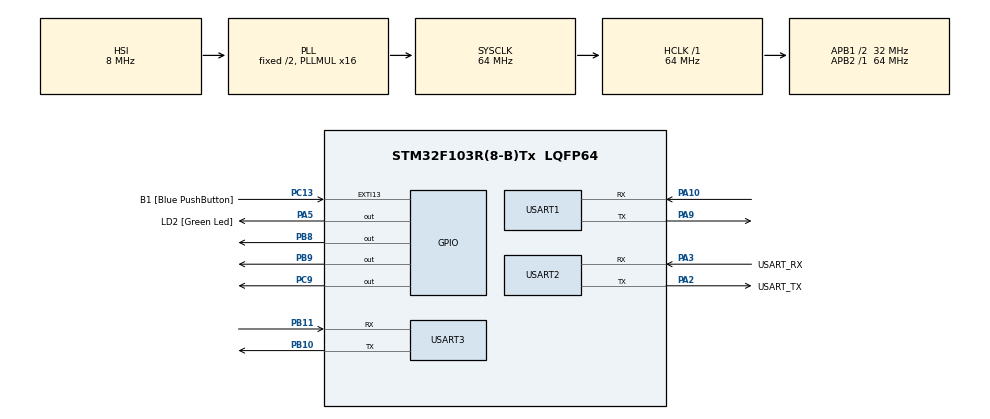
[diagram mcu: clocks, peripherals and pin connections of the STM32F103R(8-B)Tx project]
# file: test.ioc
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Mcu.Family=STM32F1
Mcu.Name=STM32F103R(8-B)Tx
Mcu.Package=LQFP64
NVIC.EXTI15_10_IRQn=true\:0\:0\:false\:false\:true\:true\:true\:true
NVIC.PriorityGroup=NVIC_PRIORITYGROUP_4
PA10.Mode=Asynchronous
PA10.Signal=USART1_RX
PA13.GPIO_Label=TMS
PA13.Mode=Serial_Wire
PA13.Signal=SYS_JTMS-SWDIO
PA14.GPIO_Label=TCK
PA14.Mode=Serial_Wire
PA14.Signal=SYS_JTCK-SWCLK
PA2.GPIO_Label=USART_TX
PA2.GPIO_Mode=GPIO_MODE_AF_PP
PA2.GPIO_PuPd=GPIO_NOPULL
PA2.GPIO_Speed=GPIO_SPEED_FREQ_LOW
PA2.Mode=Asynchronous
PA2.Signal=USART2_TX
PA3.GPIO_Label=USART_RX
PA3.GPIO_Mode=GPIO_MODE_AF_PP
PA3.GPIO_PuPd=GPIO_NOPULL
PA3.GPIO_Speed=GPIO_SPEED_FREQ_LOW
PA3.Mode=Asynchronous
PA3.Signal=USART2_RX
PA5.GPIO_Label=LD2 [Green Led]
PA5.GPIO_ModeDefaultOutputPP=GPIO_MODE_OUTPUT_PP
PA5.GPIO_PuPd=GPIO_NOPULL
PA5.GPIO_Speed=GPIO_SPEED_FREQ_LOW
PA5.Signal=GPIO_Output
PA9.Mode=Asynchronous
PA9.Signal=USART1_TX
PB10.Mode=Asynchronous
PB10.Signal=USART3_TX
PB11.Mode=Asynchronous
PB11.Signal=USART3_RX
PB3.GPIO_Label=SWO
PB3.Signal=SYS_JTDO-TRACESWO
PB8.Signal=GPIO_Output
PB9.Signal=GPIO_Output
PC13-TAMPER-RTC.GPIO_Label=B1 [Blue PushButton]
PC13-TAMPER-RTC.GPIO_PuPd=GPIO_NOPULL
PC13-TAMPER-RTC.Signal=GPXTI13
PC14-OSC32_IN.Mode=LSE-External-Oscillator
PC14-OSC32_IN.Signal=RCC_OSC32_IN
PC15-OSC32_OUT.Mode=LSE-External-Oscillator
PC15-OSC32_OUT.Signal=RCC_OSC32_OUT
PC9.Signal=GPIO_Output
PD0-OSC_IN.Mode=HSE-External-Oscillator
PD0-OSC_IN.Signal=RCC_OSC_IN
PD1-OSC_OUT.Mode=HSE-External-Oscillator
PD1-OSC_OUT.Signal=RCC_OSC_OUT
ProjectManager.HeapSize=0x200
ProjectManager.StackSize=0x400
ProjectManager.TargetToolchain=STM32CubeIDE
RCC.AHBFreq_Value=64000000
RCC.APB1CLKDivider=RCC_HCLK_DIV2
RCC.APB1Freq_Value=32000000
RCC.APB1TimFreq_Value=64000000
RCC.APB2Freq_Value=64000000
RCC.APB2TimFreq_Value=64000000
RCC.HCLKFreq_Value=64000000
RCC.PLLMUL=RCC_PLL_MUL16
RCC.RTCClockSelection=RCC_RTCCLKSOURCE_LSE
RCC.SYSCLKFreq_VALUE=64000000
RCC.SYSCLKSource=RCC_SYSCLKSOURCE_PLLCLK
RCC.USBFreq_Value=64000000
USART1.VirtualMode=VM_ASYNC
USART2.VirtualMode=VM_ASYNC
USART3.VirtualMode=VM_ASYNC
board=NUCLEO-F103RB

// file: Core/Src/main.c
/* USER CODE BEGIN Header */
/**
  ******************************************************************************
  * @file           : main.c
  * @brief          : Main program body
  ******************************************************************************
  * @attention
  *
  * Copyright (c) 2023 STMicroelectronics.
  * All rights reserved.
  *
  * This software is licensed under terms that can be found in the LICENSE file
  * in the root directory of this software component.
  * If no LICENSE file comes with this software, it is provided AS-IS.
  *
  ******************************************************************************
  */
/* USER CODE END Header */
#include "main.h"
#include <stdio.h>
#include <string.h>

/* USER CODE BEGIN PD */
#define send 0xc1ae
/* USER CODE END PD */

UART_HandleTypeDef huart1;
UART_HandleTypeDef huart2;
UART_HandleTypeDef huart3;

/* USER CODE BEGIN PV */
uint8_t version_receive[26];
uint8_t version_send[4] = {0xAE, 0xC1, 0x0e, 0x00},			resolution_send[] = {0xAE, 0xC1, 0x0C, 0x01, 0x00},
		resolution_receive[10],
		brightness_send[] = {0xAE, 0xC1, 0x10, 0x01, 0x00},
		brightness_receive[10],
		blocks_send[] = {0xAE, 0xC1, 0x20, 0x02, 0x03, 0xFF},
		blocks_receive[40];
/* USER CODE END PV */

void SystemClock_Config(void);
static void MX_GPIO_Init(void);
static void MX_USART2_UART_Init(void);
static void MX_USART1_UART_Init(void);
static void MX_USART3_UART_Init(void);

void getVersion();
void getResolution();
void setCameraBrightness(uint8_t brightness);
void getBlocks(uint8_t sigmap,uint8_t maxBlocks);
uint8_t stop[4] = {0x7A, 0x0A, 50, 0x00}, //array with data for stop
      forward[4] = {0x7A, 0x01, 50, 0x00}, //array with data for forward
      reverse[4] = {0x7A, 0x02, 50, 0x00}, //array with data for reverse
      turn_left[4] = {0x7A, 0x04, 50, 0x00}, //array with data for turn left
      turn_right[4] = {0x7A, 0x03, 50, 0x00}, //array with data for turn right
      top_left[4] = {0x7A, 0x07, 50, 0x00}, //array with data for top left
      top_right[4] = {0x7A, 0x06, 50, 0x00}, //array with data for top right
      bot_left[4] = {0x7A, 0x08, 50, 0x00}, //array with data for bottom left
      bot_right[4] = {0x7A, 0x09, 50, 0x00}, //array with data for bottom right
      clockwise[4] = {0x7A, 0x10, 50, 0x00}, //array with data for clockwise
      count_clockwise[4] = {0x7A, 0x11, 50, 0x00}, //array with data for counter clockwise
      side_left[4] = {0x7A, 0x13, 50, 0x00}, //array with data for side left
      side_right[4] = {0x7A, 0x12, 50, 0x00}; //array with data for side right

uint16_t object_present, x_combined, y_combined, width_combined, height_combined, signature;

int count = 1;
int countb = 1;

int state = 0;
int state2 = 1;

int changespeed = 0;
int changespeed2 = 1;

void stopp(){

}

uint8_t calculate_xor_checksum(uint8_t *data, uint32_t length) //checksum algorithm function using XOR. Takes in the pointer to the first element of the array and size of the array
{
    uint8_t checksum = 0; //initialise the checksum to be zero

    for (uint32_t i = 0; i < length; i++)
    {
        checksum ^= data[i]; //runs through each element and does the XOR operation. Updates the value of checksum accordingly.
    }

    return checksum; //returns the value of the checksum
}
void move(uint8_t* movement, int count) //function that will coordinate the movement. Takes in the specific direction array and the unit counts for the movement.
{

	  movement[3] = calculate_xor_checksum(movement, sizeof(*movement)* 4); //updates the value of the 4th element with the checksum value by calling the checksum function.

  uint8_t flag = 0x00; //declare an uint8_t type variable flag and initialise it to 0x00

  uint8_t ok = 0x01; //declare an uint8_t type variable ok and initialise it to 0x01

  for (int k = 0; k < count;) //loops through till it reaches count as desired by the function call parameter
  {
    HAL_UART_Receive(&huart1,&flag,sizeof(flag),10); //checks the state of the flag

    if(flag == ok) //if flag is equals to ok, signifies that there is no blockage
    {
      for (int i = 0; i <= 3; i++)
      {
        HAL_UART_Transmit(&huart1, &movement[i], 1, HAL_MAX_DELAY); //transmits the movement data one element at a time
      }

      k++; //increase the value of k
      HAL_Delay(10);
    }

    else ////if flag is not equals to ok, signifies that there is a blockage
    {
      for (int i = 0; i <= 3; i++)
      {
        HAL_UART_Transmit(&huart1, &stop[i], 1, HAL_MAX_DELAY); //transmits the stop movement
       // HAL_Delay(10);
      }
    }
  }
}

void getVersion()
{
	  HAL_UART_Transmit(&huart3, version_send, sizeof(version_send), 10);
	  HAL_UART_Receive(&huart3, version_receive, sizeof(version_receive), 10);
}

void getResolution()
{
    for (int i = 0; i < sizeof(resolution_send); i++)
    {
        if (HAL_UART_Transmit(&huart3, &(resolution_send[i]), 1, HAL_MAX_DELAY) != HAL_OK)
        {
            char error_msg[50];
            sprintf(error_msg, "Error transmitting byte %d in getResolution()\n", i);
            HAL_UART_Transmit(&huart2, (uint8_t*)error_msg, strlen(error_msg), HAL_MAX_DELAY);
            return;
        }
        HAL_Delay(10);
    }
    for (int k = 0; k < sizeof(resolution_receive); k++)
    {
        if (HAL_UART_Receive(&huart3, &(resolution_receive[k]), 1, 10) != HAL_OK)
        {
            char error_msg[50];
            sprintf(error_msg, "Error receiving byte %d in getResolution()\n", k);
            HAL_UART_Transmit(&huart2, (uint8_t*)error_msg, strlen(error_msg), HAL_MAX_DELAY);
            return;
        }
    }
}

void setCameraBrightness(uint8_t brightness)
{
	  if (brightness <= 255 && brightness >= 0)
	  {
		  brightness_send[4] = brightness;
	  }

	  else
	  {
        char error_msg[50];
        sprintf(error_msg, "Brightness value is out of range 0-255 %d in setCameraBrightness()\n", brightness);
        HAL_UART_Transmit(&huart2, (uint8_t*)error_msg, strlen(error_msg), HAL_MAX_DELAY);
        return;
	  }

    for (int i = 0; i < sizeof(brightness_send); i++)
    {
        if (HAL_UART_Transmit(&huart3, &(brightness_send[i]), 1, HAL_MAX_DELAY) != HAL_OK)
        {
            char error_msg[50];
            sprintf(error_msg, "Error transmitting byte %d in setCameraBrightness()\n", i);
            HAL_UART_Transmit(&huart2, (uint8_t*)error_msg, strlen(error_msg), HAL_MAX_DELAY);
            return;
        }
        HAL_Delay(10);
    }

    char success_msg[50];
    sprintf(success_msg, "Camera brightness set to %d\n", brightness);
    HAL_UART_Transmit(&huart2, (uint8_t*)success_msg, strlen(success_msg), HAL_MAX_DELAY);

    for (int k = 0; k < sizeof(brightness_receive); k++)
    {
        if (HAL_UART_Receive(&huart3, &(brightness_receive[k]), 1, 10) != HAL_OK)
        {
            char error_msg[50];
            sprintf(error_msg, "Error receiving byte %d in setCameraBrightness()\n", k);
            HAL_UART_Transmit(&huart2, (uint8_t*)error_msg, strlen(error_msg), HAL_MAX_DELAY);
            return;
        }

    }
}

void getBlocks(uint8_t sigmap,uint8_t maxBlocks)
  {
		HAL_UART_Transmit(&huart3, blocks_send, sizeof(blocks_send), 50);
	    HAL_UART_Receive(&huart3, blocks_receive, sizeof(blocks_receive), 50);

	    object_present = blocks_receive[3];
	    signature = ((uint16_t)blocks_receive[7] << 8) | blocks_receive[6];
		x_combined = ((uint16_t)blocks_receive[9] << 8) | blocks_receive[8];
		y_combined = ((uint16_t)blocks_receive[11] << 8) | blocks_receive[10];
		width_combined = ((uint16_t)blocks_receive[13] << 8) | blocks_receive[12];
		height_combined = ((uint16_t)blocks_receive[15] << 8) | blocks_receive[14];

  }

int main(void)
{

  /* MCU Configuration--------------------------------------------------------*/

  /* Reset of all peripherals, Initializes the Flash interface and the Systick. */
  HAL_Init();

  /* Configure the system clock */
  SystemClock_Config();

  /* Initialize all configured peripherals */
  MX_GPIO_Init();
  MX_USART2_UART_Init();
  MX_USART1_UART_Init();
  MX_USART3_UART_Init();

  /* Infinite loop */
  /* USER CODE BEGIN WHILE */
  while (1)
  {

	  //    move(forward, 50); //calls for move forward
	  //    move(top_right, 50); //calls for move top right
	  //    move(side_right, 50); //calls for move side right
	  //    move(bot_left, 50); //calls for bottom left
	  //  move(reverse, 50); //calls for move reverse
	  //    move(bot_left, 50); //calls for move bottom left
	  //    move(side_left, 50); //calls for move side left
	  //    move(top_left, 50); //calls for move top left
	  //    move(stop, 100); //calls for stop

	  //	  getBlocks(1, 1);
	  //
	  //      char blocks_msg[50];
	  //      sprintf(blocks_msg, "Forward");
	  //      HAL_UART_Transmit(&huart2, (uint8_t*)blocks_msg, strlen(blocks_msg), HAL_MAX_DELAY);

	  	 getBlocks(1, 1);

		 if (object_present == 0) //no object
		 {
			 while (object_present == 0)
			 {
			      HAL_GPIO_WritePin(GPIOC, GPIO_PIN_9, GPIO_PIN_RESET);
			      HAL_GPIO_WritePin(GPIOB, GPIO_PIN_8, GPIO_PIN_RESET);
			      HAL_GPIO_WritePin(GPIOB, GPIO_PIN_9, GPIO_PIN_RESET);
//			      HAL_Delay(50);
			      getBlocks(1, 1);

			      move(stop, count);
			 }

		 }

	  	 switch (signature)
	  	 {
	  		 case 1:

	  			    // if the LED is on, turn it off

	  			      HAL_GPIO_WritePin(GPIOC, GPIO_PIN_9, GPIO_PIN_RESET);
	  			      HAL_GPIO_WritePin(GPIOB, GPIO_PIN_8, GPIO_PIN_RESET);
	  			      HAL_GPIO_WritePin(GPIOB, GPIO_PIN_9, GPIO_PIN_RESET);
	  			      HAL_Delay(50);

	  			 if (object_present == 0) //no object
	  			 {
	  				 move(stop, count);

	  			      char blocks_msg[50];
	  			      sprintf(blocks_msg, " Stop ");
	  			      HAL_UART_Transmit(&huart2, (uint8_t*)blocks_msg, strlen(blocks_msg), 10);

	  			      //getBlocks(1, 1);
	  			 }

	  			 else //there is an object
	  			 {

	  				 //if (width_combined > 120 && width_combined < 70) //out of range
	  				 //{
	  					 if (width_combined > 120) //if the object is too near, move reverse
	  					 {
	  						 if (x_combined < 100) //if the object is center but to the left, slide left
	  						 {
	  							 if (state == 1)
	  							 {
	  								 move(stop, count);
	  								 state = 0;
	  							 }
	  							 if (state2 == 0)
	  							 {
	  								 move(stop, count);
	  								 state2 = 1;
	  							 }

	  							move(bot_left,countb);

	  						      char blocks_msg[50];
	  						      sprintf(blocks_msg, " Bot-Left ");
	  						      HAL_UART_Transmit(&huart2, (uint8_t*)blocks_msg, strlen(blocks_msg), 10);

	  						      //getBlocks(1, 1);
	  						 }

	  						 else if (x_combined > 200) //if the object is center but to the right, slide right
	  						 {
	  							 if (state == 1)
	  							 {
	  								 state2 = 1;
	  								 move(stop, count);
	  								 state = 0;
	  							 }
	  							 if (state2 == 0)
	  							 {
	  								 move(stop, count);
	  								 state2 = 1;
	  							 }

	  							 move(bot_right, countb);

	  						      char blocks_msg[50];
	  						      sprintf(blocks_msg, " Bot-Right ");
	  						      HAL_UART_Transmit(&huart2, (uint8_t*)blocks_msg, strlen(blocks_msg), 10);

	  						      //getBlocks(1, 1);
	  						 }

	  						 else if (x_combined > 100 && x_combined < 200)
	  						 {

	  							 state = 1;
	  							 state2 = 0;

	  							 if (width_combined < 140)
	  							 {
	  								 reverse[2] = 40;
	  								 move(reverse, count);
	  							 }
	  							 else if (width_combined >= 140 )
	  							 {
	  								 reverse[2] = 80;
	  								 move(reverse, count);
	  							 }

	  							  char blocks_msg[50];
	  							  sprintf(blocks_msg, " Reverse ");
	  							  HAL_UART_Transmit(&huart2, (uint8_t*)blocks_msg, strlen(blocks_msg), 10);

	  							  //getBlocks(1, 1);
	  						 }

	  					 } // end of if for too near

	  					 else if (width_combined < 70) //if the object is too far, move forward
	  					 {

	  						 if (x_combined < 80) //if the object is center but to the left, slide left
	  						 {
	  							 if (state == 1)
	  							 {
	  								 move(stop, count);
	  								 state = 0;
	  							 }
	  							 if (state2 == 0)
	  							 {
	  								 move(stop, count);
	  								 state2 = 1;
	  							 }

	  							 move(top_left,countb);

	  						      char blocks_msg[50];
	  						      sprintf(blocks_msg, " Top-Left ");
	  						      HAL_UART_Transmit(&huart2, (uint8_t*)blocks_msg, strlen(blocks_msg), 10);

	  						      //getBlocks(1, 1);
	  						 }

	  						 else if (x_combined > 220) //if the object is center but to the right, slide right
	  						 {
	  							 if (state == 1)
	  							 {
	  								 move(stop, count);
	  								 state = 0;
	  							 }
	  							 if (state2 == 0)
	  							 {
	  								 move(stop, count);
	  								 state2 = 1;
	  							 }

	  							 move(top_right, countb);

	  						      char blocks_msg[50];
	  						      sprintf(blocks_msg, " Top-Right ");
	  						      HAL_UART_Transmit(&huart2, (uint8_t*)blocks_msg, strlen(blocks_msg), 10);

	  						      //getBlocks(1, 1);
	  						 }

	  						 else
	  						 {
	  							 state = 1;
	  							 state2 = 0;

	  							 if (width_combined > 50)
	  							 {
	  								 forward[2] = 40;
	  								 move(forward, count);
	  							 }
	  							 else if (width_combined <= 50 )
	  							 {
	  								 forward[2] = 80;
	  								 move(forward, count);
	  							 }

	  						      char blocks_msg[50];
	  						      sprintf(blocks_msg, " Forward ");
	  						      HAL_UART_Transmit(&huart2, (uint8_t*)blocks_msg, strlen(blocks_msg), 10);

	  						      //getBlocks(1, 1);
	  						 }
	  					 } //end of if for too far

	  				 //} //end of if for out of range

	  				 else if (width_combined <= 120 && width_combined >= 70) //within desired range
	  				 {

	  					 if (x_combined >=80 && x_combined <= 220) //if the object is in the center, stop
	  					 {
	  						 move(stop,count);

	  					      char blocks_msg[50];
	  					      sprintf(blocks_msg, " Stop ");
	  					      HAL_UART_Transmit(&huart2, (uint8_t*)blocks_msg, strlen(blocks_msg), 10);

	  					      //getBlocks(1, 1);
	  					 }

	  					 else if (x_combined < 80) //if the object is center but to the left, slide left
	  					 {
	  						state = 1;

	  						 if (x_combined > 70)
	  						 {
	  							 side_left[2] = 40;
	  							 move(side_left, count);
	  						 }
	  						 else if (x_combined <= 70 )
	  						 {
	  							 side_left[2] = 80;
	  							 move(side_left, count);
	  						 }

	  					      char blocks_msg[50];
	  					      sprintf(blocks_msg, " Slide-Left ");
	  					      HAL_UART_Transmit(&huart2, (uint8_t*)blocks_msg, strlen(blocks_msg), 10);

	  					      //getBlocks(1, 1);
	  					 }

	  					 else if (x_combined > 220) //if the object is center but to the right, slide right
	  					 {
	  						 state = 1;

	  						 if (x_combined < 240)
	  						 {
	  							 side_right[2] = 40;
	  							 move(side_right, count);
	  						 }
	  						 else if (x_combined >= 240 )
	  						 {
	  							 side_right[2] = 80;
	  							 move(side_right, count);
	  						 }

	  					      char blocks_msg[50];
	  					      sprintf(blocks_msg, " Slide-Right ");
	  					      HAL_UART_Transmit(&huart2, (uint8_t*)blocks_msg, strlen(blocks_msg), 10);

	  					      //getBlocks(1, 1);
	  					 }
	  				 } //end of if for desired range

	  			 }

	  			 break;

	  		 case 2:
	  			 //HAL_GPIO_TogglePin(GPIOC, GPIO_PIN_9);
	  			     //HAL_Delay(1000);
	  			HAL_GPIO_WritePin(GPIOC, GPIO_PIN_9, GPIO_PIN_SET);
	  			HAL_GPIO_WritePin(GPIOB, GPIO_PIN_8, GPIO_PIN_SET);
	  			HAL_GPIO_WritePin(GPIOB, GPIO_PIN_9, GPIO_PIN_SET);
	  			HAL_Delay(50);

	  			move(stop, count);

	  		break;

	  	 }

    /* USER CODE END WHILE */

  }
}

void SystemClock_Config(void)
{
  RCC_OscInitTypeDef RCC_OscInitStruct = {0};
  RCC_ClkInitTypeDef RCC_ClkInitStruct = {0};

  /** Initializes the RCC Oscillators according to the specified parameters
  * in the RCC_OscInitTypeDef structure.
  */
  RCC_OscInitStruct.OscillatorType = RCC_OSCILLATORTYPE_HSI;
  RCC_OscInitStruct.HSIState = RCC_HSI_ON;
  RCC_OscInitStruct.HSICalibrationValue = RCC_HSICALIBRATION_DEFAULT;
  RCC_OscInitStruct.PLL.PLLState = RCC_PLL_ON;
  RCC_OscInitStruct.PLL.PLLSource = RCC_PLLSOURCE_HSI_DIV2;
  RCC_OscInitStruct.PLL.PLLMUL = RCC_PLL_MUL16;
  if (HAL_RCC_OscConfig(&RCC_OscInitStruct) != HAL_OK)
  {
    Error_Handler();
  }

  /** Initializes the CPU, AHB and APB buses clocks
  */
  RCC_ClkInitStruct.ClockType = RCC_CLOCKTYPE_HCLK|RCC_CLOCKTYPE_SYSCLK
                              |RCC_CLOCKTYPE_PCLK1|RCC_CLOCKTYPE_PCLK2;
  RCC_ClkInitStruct.SYSCLKSource = RCC_SYSCLKSOURCE_PLLCLK;
  RCC_ClkInitStruct.AHBCLKDivider = RCC_SYSCLK_DIV1;
  RCC_ClkInitStruct.APB1CLKDivider = RCC_HCLK_DIV2;
  RCC_ClkInitStruct.APB2CLKDivider = RCC_HCLK_DIV1;

  if (HAL_RCC_ClockConfig(&RCC_ClkInitStruct, FLASH_LATENCY_2) != HAL_OK)
  {
    Error_Handler();
  }
}

static void MX_USART1_UART_Init(void)
{

  huart1.Instance = USART1;
  huart1.Init.BaudRate = 115200;
  huart1.Init.WordLength = UART_WORDLENGTH_8B;
  huart1.Init.StopBits = UART_STOPBITS_1;
  huart1.Init.Parity = UART_PARITY_NONE;
  huart1.Init.Mode = UART_MODE_TX_RX;
  huart1.Init.HwFlowCtl = UART_HWCONTROL_NONE;
  huart1.Init.OverSampling = UART_OVERSAMPLING_16;
  if (HAL_UART_Init(&huart1) != HAL_OK)
  {
    Error_Handler();
  }

}

static void MX_USART2_UART_Init(void)
{

  huart2.Instance = USART2;
  huart2.Init.BaudRate = 115200;
  huart2.Init.WordLength = UART_WORDLENGTH_8B;
  huart2.Init.StopBits = UART_STOPBITS_1;
  huart2.Init.Parity = UART_PARITY_NONE;
  huart2.Init.Mode = UART_MODE_TX_RX;
  huart2.Init.HwFlowCtl = UART_HWCONTROL_NONE;
  huart2.Init.OverSampling = UART_OVERSAMPLING_16;
  if (HAL_UART_Init(&huart2) != HAL_OK)
  {
    Error_Handler();
  }

}

static void MX_USART3_UART_Init(void)
{

  huart3.Instance = USART3;
  huart3.Init.BaudRate = 115200;
  huart3.Init.WordLength = UART_WORDLENGTH_8B;
  huart3.Init.StopBits = UART_STOPBITS_1;
  huart3.Init.Parity = UART_PARITY_NONE;
  huart3.Init.Mode = UART_MODE_TX_RX;
  huart3.Init.HwFlowCtl = UART_HWCONTROL_NONE;
  huart3.Init.OverSampling = UART_OVERSAMPLING_16;
  if (HAL_UART_Init(&huart3) != HAL_OK)
  {
    Error_Handler();
  }

}

static void MX_GPIO_Init(void)
{
  GPIO_InitTypeDef GPIO_InitStruct = {0};

  /* GPIO Ports Clock Enable */
  __HAL_RCC_GPIOC_CLK_ENABLE();
  __HAL_RCC_GPIOD_CLK_ENABLE();
  __HAL_RCC_GPIOA_CLK_ENABLE();
  __HAL_RCC_GPIOB_CLK_ENABLE();

  /*Configure GPIO pin Output Level */
  HAL_GPIO_WritePin(LD2_GPIO_Port, LD2_Pin, GPIO_PIN_RESET);

  /*Configure GPIO pin Output Level */
  HAL_GPIO_WritePin(GPIOC, GPIO_PIN_9, GPIO_PIN_RESET);

  /*Configure GPIO pin : B1_Pin */
  GPIO_InitStruct.Pin = B1_Pin;
  GPIO_InitStruct.Mode = GPIO_MODE_IT_RISING;
  GPIO_InitStruct.Pull = GPIO_NOPULL;
  HAL_GPIO_Init(B1_GPIO_Port, &GPIO_InitStruct);

  /*Configure GPIO pin : LD2_Pin */
  GPIO_InitStruct.Pin = LD2_Pin;
  GPIO_InitStruct.Mode = GPIO_MODE_OUTPUT_PP;
  GPIO_InitStruct.Pull = GPIO_NOPULL;
  GPIO_InitStruct.Speed = GPIO_SPEED_FREQ_LOW;
  HAL_GPIO_Init(LD2_GPIO_Port, &GPIO_InitStruct);

  /*Configure GPIO pin : PC9 */
  GPIO_InitStruct.Pin = GPIO_PIN_9;
  GPIO_InitStruct.Mode = GPIO_MODE_OUTPUT_PP;
  GPIO_InitStruct.Pull = GPIO_NOPULL;
  GPIO_InitStruct.Speed = GPIO_SPEED_FREQ_LOW;
  HAL_GPIO_Init(GPIOC, &GPIO_InitStruct);

  /*Configure GPIO pin : PB8 */
  GPIO_InitStruct.Pin = GPIO_PIN_8;
  GPIO_InitStruct.Mode = GPIO_MODE_OUTPUT_PP;
  GPIO_InitStruct.Pull = GPIO_NOPULL;
  GPIO_InitStruct.Speed = GPIO_SPEED_FREQ_LOW;
  HAL_GPIO_Init(GPIOB, &GPIO_InitStruct);

  /*Configure GPIO pin : PB9 */
  GPIO_InitStruct.Pin = GPIO_PIN_9;
  GPIO_InitStruct.Mode = GPIO_MODE_OUTPUT_PP;
  GPIO_InitStruct.Pull = GPIO_NOPULL;
  GPIO_InitStruct.Speed = GPIO_SPEED_FREQ_LOW;
  HAL_GPIO_Init(GPIOB, &GPIO_InitStruct);

  /* EXTI interrupt init*/
  HAL_NVIC_SetPriority(EXTI15_10_IRQn, 0, 0);
  HAL_NVIC_EnableIRQ(EXTI15_10_IRQn);

}

void Error_Handler(void)
{
  __disable_irq();
  while (1)
  {
  }
}
